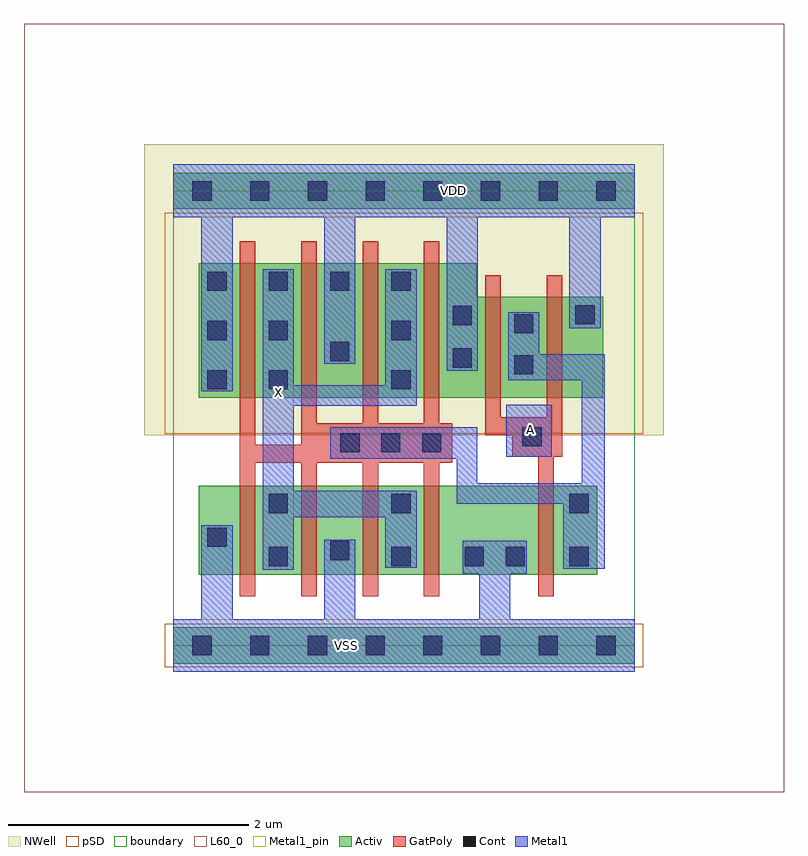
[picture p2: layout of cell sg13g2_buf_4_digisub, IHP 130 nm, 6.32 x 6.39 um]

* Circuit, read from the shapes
.subckt sg13g2_buf_4_digisub A VDD VSS X
XM1 X n1 VSS VSS sg13_lv_nmos w=0.74u l=0.13u m=4
XM2 n1 A VSS VSS sg13_lv_nmos w=0.74u l=0.13u
XM3 X n1 VDD VDD sg13_lv_pmos w=1.12u l=0.13u m=4
XM4 n1 A VDD VDD sg13_lv_pmos w=0.84u l=0.13u m=2
.ends

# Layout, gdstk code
import gdstk
lib = gdstk.Library(unit=1e-6, precision=1e-09)
def R(c, l, rs):  # rectangles x0, y0, x1, y1
    for r in rs: c.add(gdstk.rectangle(r[:2], r[2:], *l))
def A(c, l, x, y, w, h, nx, ny, dx, dy):  # array of equal rectangles
    R(c, l, [(x+i*dx, y+j*dy, x+i*dx+w, y+j*dy+h) for i in range(nx) for j in range(ny)])
def P(c, l, *ps):  # polygons
    for p in ps: c.add(gdstk.Polygon(p, *l))
Activ = (1, 0)
GatPoly = (5, 0)
Cont = (6, 0)
Metal1 = (8, 0)
Metal1_pin = (8, 2)
pSD = (14, 0)
NWell = (31, 0)
L60_0 = (60, 0)
boundary = (189, 4)

sg13g2_buf_4_digisub = lib.new_cell('sg13g2_buf_4_digisub')
R(sg13g2_buf_4_digisub, Activ, [(0,-0.15,3.84,0.15), (0.215,0.59,3.525,1.33), (0,3.63,3.84,3.93)])
P(sg13g2_buf_4_digisub, Activ, [(3.575,2.9),(2.525,2.9),(2.525,3.18),(0.215,3.18),(0.215,2.06),(3.575,2.06)])
P(sg13g2_buf_4_digisub, GatPoly, [(3.235,3.08),(3.105,3.08),(3.105,1.9),(2.725,1.9),(2.725,3.08),(2.595,3.08),(2.595,1.75),(2.82,1.75),(2.82,1.57),(3.035,1.57),(3.035,0.41),(3.165,0.41),(3.165,1.57),(3.235,1.57)],
  [(2.32,1.85),(2.215,1.85),(2.215,3.36),(2.085,3.36),(2.085,1.85),(1.705,1.85),(1.705,3.36),(1.575,3.36),(1.575,1.85),(1.195,1.85),(1.195,3.36),(1.065,3.36),(1.065,1.67),(0.685,1.67),(0.685,3.36),(0.555,3.36),(0.555,0.41),(0.685,0.41),(0.685,1.52),(1.065,1.52),(1.065,0.41),(1.195,0.41),(1.195,1.52),(1.575,1.52),(1.575,0.41),(1.705,0.41),(1.705,1.52),(2.085,1.52),(2.085,0.41),(2.215,0.41),(2.215,1.52),(2.32,1.52)])
A(sg13g2_buf_4_digisub, Cont, 1.39, 1.605, 0.16, 0.16, 3, 1, 0.34, 0)
A(sg13g2_buf_4_digisub, Cont, 0.285, 2.95, 0.16, 0.16, 4, 1, 0.51, 0)
R(sg13g2_buf_4_digisub, Cont, [(0.16,-0.08,0.32,0.08), (0.16,-0.08,0.32,0.08), (0.64,-0.08,0.8,0.08), (0.64,-0.08,0.8,0.08), (1.12,-0.08,1.28,0.08), (1.12,-0.08,1.28,0.08), (1.6,-0.08,1.76,0.08), (1.6,-0.08,1.76,0.08), (2.08,-0.08,2.24,0.08), (2.08,-0.08,2.24,0.08), (2.56,-0.08,2.72,0.08), (2.56,-0.08,2.72,0.08), (3.04,-0.08,3.2,0.08), (3.04,-0.08,3.2,0.08), (3.52,-0.08,3.68,0.08), (3.52,-0.08,3.68,0.08), (0.795,0.66,0.955,0.82), (1.815,0.66,1.975,0.82), (2.425,0.66,2.585,0.82), (2.765,0.66,2.925,0.82), (3.295,0.66,3.455,0.82), (1.305,0.71,1.465,0.87), (0.285,0.82,0.445,0.98), (0.795,1.1,0.955,1.26), (1.815,1.1,1.975,1.26), (3.295,1.1,3.455,1.26), (2.905,1.655,3.065,1.815), (0.285,2.13,0.445,2.29), (0.795,2.13,0.955,2.29), (1.815,2.13,1.975,2.29), (2.835,2.255,2.995,2.415), (2.325,2.31,2.485,2.47), (1.305,2.365,1.465,2.525), (0.285,2.54,0.445,2.7), (0.795,2.54,0.955,2.7), (1.815,2.54,1.975,2.7), (2.835,2.595,2.995,2.755), (2.325,2.665,2.485,2.825), (3.345,2.67,3.505,2.83), (0.16,3.7,0.32,3.86), (0.16,3.7,0.32,3.86), (0.64,3.7,0.8,3.86), (0.64,3.7,0.8,3.86), (1.12,3.7,1.28,3.86), (1.12,3.7,1.28,3.86), (1.6,3.7,1.76,3.86), (1.6,3.7,1.76,3.86), (2.08,3.7,2.24,3.86), (2.08,3.7,2.24,3.86), (2.56,3.7,2.72,3.86), (2.56,3.7,2.72,3.86), (3.04,3.7,3.2,3.86), (3.04,3.7,3.2,3.86), (3.52,3.7,3.68,3.86), (3.52,3.7,3.68,3.86)])
R(sg13g2_buf_4_digisub, Metal1, [(2.77,1.57,3.15,2)])
P(sg13g2_buf_4_digisub, Metal1, [(1.005,2.165),(1.765,2.165),(1.765,3.13),(2.025,3.13),(2.025,1.995),(1.005,1.995),(1.005,1.285),(2.025,1.285),(2.025,0.645),(1.765,0.645),(1.765,1.065),(1.005,1.065),(1.005,0.63),(0.745,0.63),(0.745,3.13),(1.005,3.13)],
  [(3.59,2.42),(3.045,2.42),(3.045,2.77),(2.785,2.77),(2.785,2.205),(3.4,2.205),(3.4,1.35),(2.53,1.35),(2.53,1.815),(1.305,1.815),(1.305,1.555),(2.36,1.555),(2.36,1.18),(3.245,1.18),(3.245,0.64),(3.59,0.64)],
  [(0,3.56),(0,4),(3.84,4),(3.84,3.56),(3.555,3.56),(3.555,2.64),(3.295,2.64),(3.295,3.56),(2.535,3.56),(2.535,2.285),(2.275,2.285),(2.275,3.56),(1.515,3.56),(1.515,2.345),(1.255,2.345),(1.255,3.56),(0.495,3.56),(0.495,2.115),(0.235,2.115),(0.235,3.56)],
  [(3.84,0.22),(2.805,0.22),(2.805,0.595),(2.94,0.595),(2.94,0.87),(2.41,0.87),(2.41,0.595),(2.545,0.595),(2.545,0.22),(1.515,0.22),(1.515,0.88),(1.255,0.88),(1.255,0.22),(0.495,0.22),(0.495,1),(0.235,1),(0.235,0.22),(0,0.22),(0,-0.22),(3.84,-0.22)])
R(sg13g2_buf_4_digisub, Metal1_pin, [(0,-0.22,3.84,0.22), (0.745,0.63,1.005,3.13), (2.77,1.57,3.15,2), (0,3.56,3.84,4)])
R(sg13g2_buf_4_digisub, pSD, [(-0.07,-0.18,3.91,0.18), (-0.07,1.76,3.91,3.6)])
R(sg13g2_buf_4_digisub, NWell, [(-0.24,1.75,4.08,4.17)])
R(sg13g2_buf_4_digisub, L60_0, [(-1.24,-1.22,5.08,5.17)])
R(sg13g2_buf_4_digisub, boundary, [(0,0,3.84,3.78)])
sg13g2_buf_4_digisub.add(gdstk.Label('X', (0.88,2.105), layer=8, texttype=25))
sg13g2_buf_4_digisub.add(gdstk.Label('VSS', (1.44,0), layer=8, texttype=25))
sg13g2_buf_4_digisub.add(gdstk.Label('A', (2.97,1.8), layer=8, texttype=25))
sg13g2_buf_4_digisub.add(gdstk.Label('VDD', (2.33,3.78), layer=8, texttype=25))

lib.write_gds('sg13g2_buf_4_digisub.gds')
